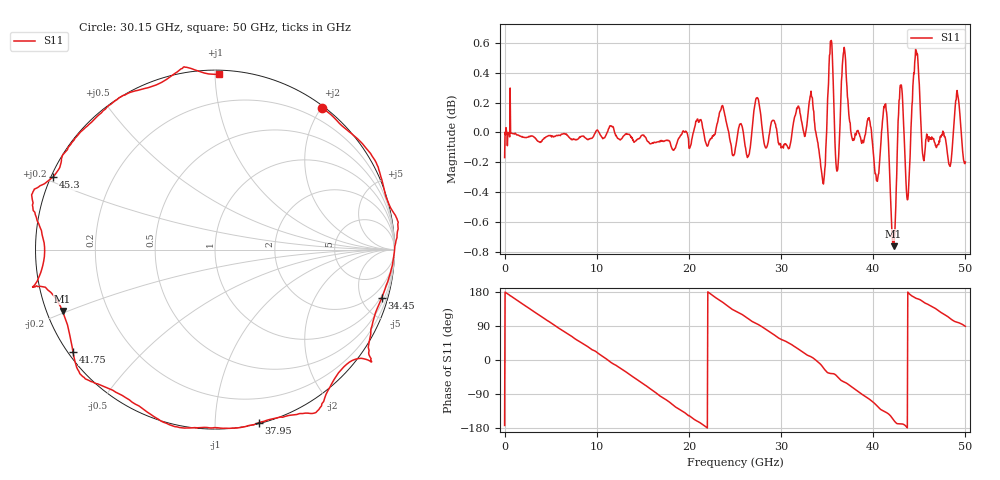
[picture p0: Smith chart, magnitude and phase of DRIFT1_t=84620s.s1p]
!Created with skrf (http://scikit-rf.org).
# Hz S RI R 50.0
!freq ReS11 ImS11
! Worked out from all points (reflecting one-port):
!   1001 points, 300 kHz to 50 GHz, reference 50 ohm
!   lowest |S11| = -0.8 dB at 42.2 GHz (marker M1), VSWR 22.79, Z = 2.28 - j9.68 ohm
!   phase of S11 starts at -173 deg and turns -818 deg over the sweep
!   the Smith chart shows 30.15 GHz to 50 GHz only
!   S11 on the Smith chart (normalised r, x): 30.15 GHz: 0.03, +2.01; 34.45 GHz: 0.84, -6.93; 37.95 GHz: 0.01, -1.29; 41.75 GHz: 0.01, -0.32; 45.3 GHz: 0.01, +0.21; 50 GHz: 0.02, +1.02
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300000  -0.9727 -0.1251
1.450291e9  -0.9126 0.404
3.25028e9  -0.593 0.8002
6.250262e9  0.1986 0.9787
9.500243e9  0.8872 0.4519
1.250022e10  0.93 -0.3523
1.580021e10  0.2423 -0.9612
1.74002e10  -0.2231 -0.9682
1.875019e10  -0.5988 -0.7921
2.165017e10  -0.9903 -0.1233
2.345016e10  -0.9297 0.4129
2.500015e10  -0.6261 0.7615
2.745014e10  -0.0822 1.024
3.015012e10  0.5966 0.789
3.125011e10  0.7822 0.6281
3.32001e10  1.016 0.1636
3.445009e10  0.9284 -0.2694
3.520009e10  0.8647 -0.6001
3.750008e10  0.3771 -0.9341
3.795007e10  0.2445 -0.9643
3.965006e10  -0.2551 -0.9753
4.175005e10  -0.7916 -0.5689
4.220005e10  -0.8495 -0.3425
4.290004e10  -1.014 -0.2099
4.375004e10  -0.9495 0.0126
4.530003e10  -0.9011 0.406
4.765001e10  -0.5123 0.8586
5e10  0.0197 0.9773
